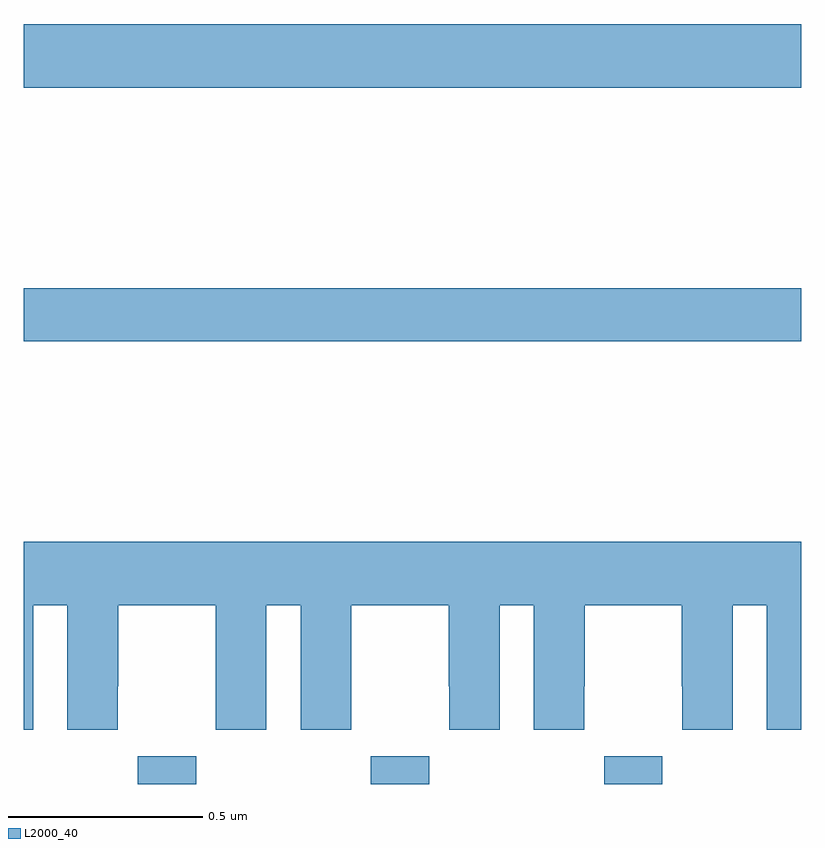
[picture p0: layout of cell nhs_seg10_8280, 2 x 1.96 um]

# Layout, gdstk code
import gdstk
lib = gdstk.Library(unit=1e-6, precision=1e-09)
def R(c, l, rs):  # rectangles x0, y0, x1, y1
    for r in rs: c.add(gdstk.rectangle(r[:2], r[2:], *l))
def A(c, l, x, y, w, h, nx, ny, dx, dy):  # array of equal rectangles
    R(c, l, [(x+i*dx, y+j*dy, x+i*dx+w, y+j*dy+h) for i in range(nx) for j in range(ny)])
def P(c, l, *ps):  # polygons
    for p in ps: c.add(gdstk.Polygon(p, *l))
L2000_40 = (2000, 40)

nhs_seg10_8280 = lib.new_cell('nhs_seg10_8280')
A(nhs_seg10_8280, L2000_40, 214.293, 1322.5, 0.15, 0.072, 3, 1, 0.6, 0)
R(nhs_seg10_8280, L2000_40, [(214,1323.64,216,1323.776), (214,1324.292,216,1324.456)])
P(nhs_seg10_8280, L2000_40, [(214.024,1322.96),(214.112,1322.96),(214.112,1322.64),(214.242,1322.64),(214.242,1322.752),(214.243,1322.752),(214.243,1322.96),(214.493,1322.96),(214.493,1322.752),(214.494,1322.752),(214.494,1322.64),(214.624,1322.64),(214.624,1322.96),(214.712,1322.96),(214.712,1322.64),(214.842,1322.64),(214.842,1322.752),(214.843,1322.752),(214.843,1322.96),(215.093,1322.96),(215.093,1322.752),(215.094,1322.752),(215.094,1322.64),(215.224,1322.64),(215.224,1322.96),(215.312,1322.96),(215.312,1322.64),(215.442,1322.64),(215.442,1322.752),(215.443,1322.752),(215.443,1322.96),(215.693,1322.96),(215.693,1322.752),(215.694,1322.752),(215.694,1322.64),(215.824,1322.64),(215.824,1322.96),(215.912,1322.96),(215.912,1322.64),(216,1322.64),(216,1323.124),(214,1323.124),(214,1322.64),(214.024,1322.64)])

lib.write_gds('nhs_seg10_8280.gds')
